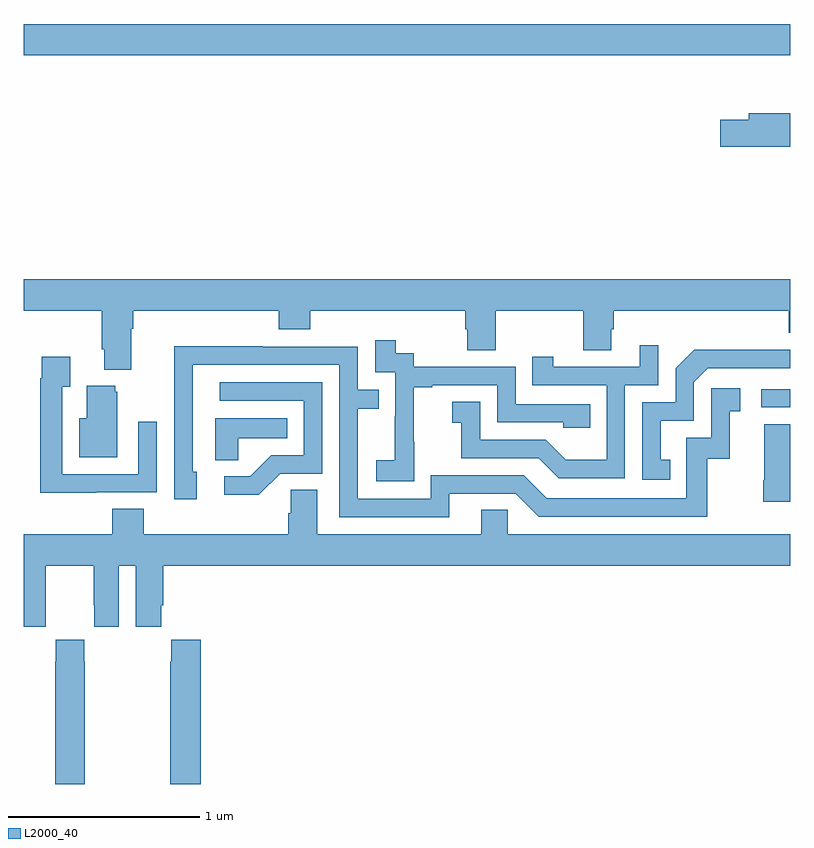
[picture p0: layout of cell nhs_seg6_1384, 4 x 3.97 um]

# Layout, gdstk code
import gdstk
lib = gdstk.Library(unit=1e-6, precision=1e-09)
def R(c, l, rs):  # rectangles x0, y0, x1, y1
    for r in rs: c.add(gdstk.rectangle(r[:2], r[2:], *l))
def P(c, l, *ps):  # polygons
    for p in ps: c.add(gdstk.Polygon(p, *l))
L2000_40 = (2000, 40)

nhs_seg6_1384 = lib.new_cell('nhs_seg6_1384')
R(nhs_seg6_1384, L2000_40, [(198.849,977.466,199,977.562), (195,979.304,199,979.468)])
P(nhs_seg6_1384, L2000_40, [(199,979.003),(198.785,979.003),(198.785,978.969),(198.636,978.969),(198.636,978.827),(199,978.827)],
  [(195.559,977.876),(195.572,977.876),(195.572,977.972),(196.331,977.972),(196.331,977.873),(196.496,977.873),(196.496,977.972),(197.303,977.972),(197.303,977.874),(197.315,977.874),(197.315,977.764),(197.463,977.764),(197.463,977.972),(197.92,977.972),(197.92,977.764),(198.067,977.764),(198.067,977.874),(198.08,977.874),(198.08,977.972),(198.992,977.972),(198.992,977.855),(199,977.855),(199,978.136),(195,978.136),(195,977.972),(195.407,977.972),(195.407,977.77),(195.419,977.77),(195.419,977.663),(195.559,977.663)],
  [(197.037,977.287),(197.036,977.287),(197.036,977.571),(197.131,977.571),(197.131,977.583),(197.472,977.583),(197.472,977.388),(197.817,977.388),(197.817,977.361),(197.957,977.361),(197.957,977.484),(197.568,977.484),(197.568,977.679),(197.034,977.679),(197.034,977.748),(196.942,977.748),(196.942,977.818),(196.833,977.818),(196.833,977.649),(196.938,977.649),(196.938,977.42),(196.937,977.42),(196.937,977.191),(196.839,977.191),(196.839,977.081),(197.037,977.081)],
  [(198.138,977.583),(198.312,977.583),(198.312,977.791),(198.215,977.791),(198.215,977.679),(197.764,977.679),(197.764,977.731),(197.653,977.731),(197.653,977.583),(198.042,977.583),(198.042,977.194),(197.828,977.194),(197.724,977.298),(197.382,977.298),(197.382,977.497),(197.235,977.497),(197.235,977.387),(197.284,977.387),(197.284,977.202),(197.687,977.202),(197.792,977.097),(198.138,977.097)],
  [(197.221,977.016),(197.568,977.016),(197.688,976.896),(198.568,976.896),(198.568,977.199),(198.686,977.199),(198.686,977.445),(198.739,977.445),(198.739,977.566),(198.588,977.566),(198.588,977.307),(198.459,977.307),(198.459,976.992),(197.73,976.992),(197.61,977.112),(197.124,977.112),(197.124,976.989),(196.743,976.989),(196.743,977.458),(196.853,977.458),(196.853,977.559),(196.743,977.559),(196.743,977.784),(196.247,977.784),(196.247,977.786),(195.784,977.786),(195.784,977.479),(195.786,977.479),(195.786,976.986),(195.901,976.986),(195.901,977.13),(195.882,977.13),(195.882,977.688),(196.647,977.688),(196.647,976.893),(197.221,976.893)],
  [(198.374,977.193),(198.325,977.193),(198.325,977.397),(198.498,977.397),(198.498,977.598),(198.57,977.67),(199,977.67),(199,977.766),(198.908,977.766),(198.908,977.768),(198.5,977.768),(198.402,977.67),(198.402,977.493),(198.228,977.493),(198.228,977.088),(198.374,977.088)],
  [(195.377,977.022),(195.693,977.022),(195.693,977.392),(195.597,977.392),(195.597,977.118),(195.201,977.118),(195.201,977.575),(195.241,977.575),(195.241,977.731),(195.093,977.731),(195.093,977.618),(195.085,977.618),(195.085,977.021),(195.377,977.021)],
  [(196.338,977.121),(196.557,977.121),(196.557,977.598),(196.023,977.598),(196.023,977.502),(196.461,977.502),(196.461,977.217),(196.292,977.217),(196.181,977.106),(196.047,977.106),(196.047,977.009),(196.225,977.009)],
  [(195.487,977.547),(195.476,977.547),(195.476,977.578),(195.329,977.578),(195.329,977.41),(195.29,977.41),(195.29,977.207),(195.487,977.207)],
  [(196.119,977.306),(196.376,977.306),(196.376,977.41),(195.998,977.41),(195.998,977.191),(196.119,977.191)],
  [(199,977.377),(198.866,977.377),(198.866,977.086),(198.859,977.086),(198.859,976.974),(199,976.974)],
  [(195.114,976.432),(195.115,976.432),(195.115,976.64),(195.365,976.64),(195.365,976.432),(195.366,976.432),(195.366,976.32),(195.496,976.32),(195.496,976.64),(195.584,976.64),(195.584,976.32),(195.718,976.32),(195.718,976.432),(195.728,976.432),(195.728,976.64),(199,976.64),(199,976.804),(197.526,976.804),(197.526,976.931),(197.387,976.931),(197.387,976.804),(196.531,976.804),(196.531,977.036),(196.392,977.036),(196.392,976.913),(196.379,976.913),(196.379,976.804),(195.626,976.804),(195.626,976.937),(195.461,976.937),(195.461,976.804),(195,976.804),(195,976.32),(195.114,976.32)],
  [(195.318,976.139),(195.315,976.139),(195.315,976.252),(195.165,976.252),(195.165,976.139),(195.163,976.139),(195.163,975.5),(195.318,975.5)],
  [(195.923,976.252),(195.769,976.252),(195.769,976.139),(195.763,976.139),(195.763,975.5),(195.923,975.5)])

lib.write_gds('nhs_seg6_1384.gds')
